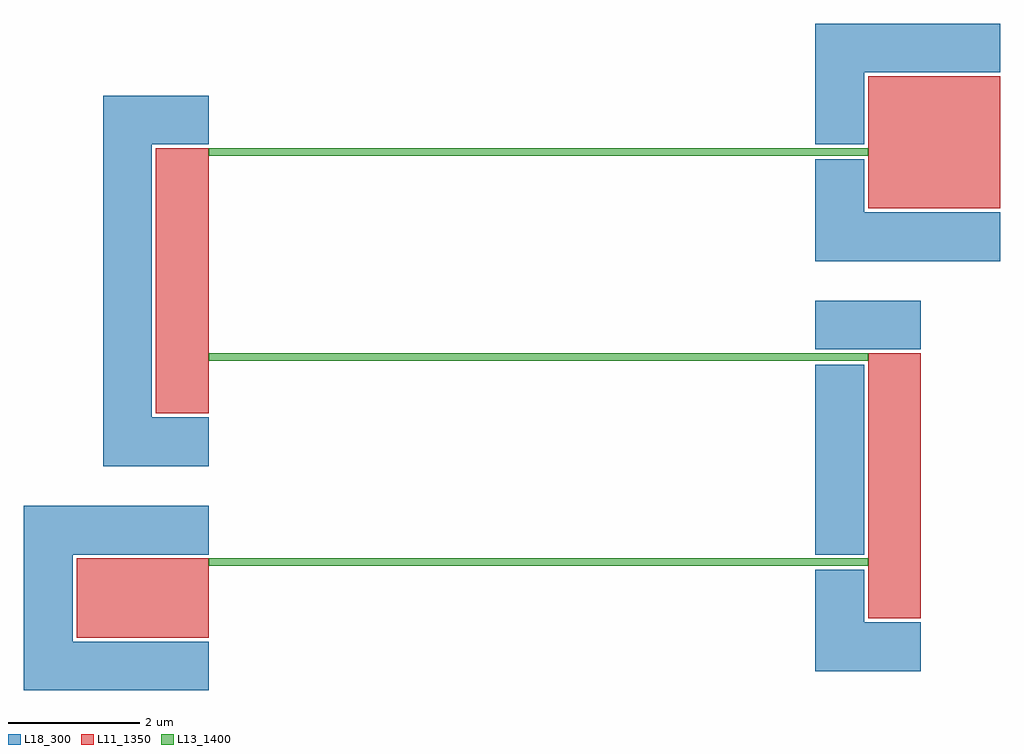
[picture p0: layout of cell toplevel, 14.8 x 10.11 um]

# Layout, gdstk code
from math import pi, radians
import gdstk
lib = gdstk.Library(unit=1e-6, precision=1e-09)
def R(c, l, rs):  # rectangles x0, y0, x1, y1
    for r in rs: c.add(gdstk.rectangle(r[:2], r[2:], *l))
def P(c, l, *ps):  # polygons
    for p in ps: c.add(gdstk.Polygon(p, *l))
L11_1350 = (11, 1350)
L13_1400 = (13, 1400)
L18_300 = (18, 300)

rectangle006 = lib.new_cell('rectangle006')
R(rectangle006, L11_1350, [(0,0,0.8,3.22)])

rectangle007 = lib.new_cell('rectangle007')
R(rectangle007, L11_1350, [(0,-0.8,0.8,0)])

arm_connector = lib.new_cell('Arm connector')
arm_connector.add(gdstk.Reference(rectangle006, (-0.8,-3.11)))
arm_connector.add(gdstk.Reference(rectangle007, (-0.8,-3.11)))

rectangle009 = lib.new_cell('rectangle009')
R(rectangle009, L11_1350, [(0,0,0.8,3.22)])

rectangle010 = lib.new_cell('rectangle010')
R(rectangle010, L11_1350, [(0,-0.8,0.8,0)])

arm_connector008 = lib.new_cell('Arm connector008')
arm_connector008.add(gdstk.Reference(rectangle009, (10,-6.22)))
arm_connector008.add(gdstk.Reference(rectangle010, (10,-6.22)))

arms = lib.new_cell('Arms')
arms.add(gdstk.Reference(arm_connector, (0,0)))
arms.add(gdstk.Reference(arm_connector008, (0,0)))

rectangle = lib.new_cell('rectangle')
R(rectangle, L13_1400, [(0,0,10,0.11)])

resistive_segment = lib.new_cell('Resistive segment')
resistive_segment.add(gdstk.Reference(rectangle, (0,0)))

rectangle003 = lib.new_cell('rectangle003')
R(rectangle003, L13_1400, [(0,0,10,0.11)])

resistive_segment002 = lib.new_cell('Resistive segment002')
resistive_segment002.add(gdstk.Reference(rectangle003, (0,-3.11)))

rectangle005 = lib.new_cell('rectangle005')
R(rectangle005, L13_1400, [(0,0,10,0.11)])

resistive_segment004 = lib.new_cell('Resistive segment004')
resistive_segment004.add(gdstk.Reference(rectangle005, (0,-6.22)))

resistive_segments = lib.new_cell('Resistive segments')
resistive_segments.add(gdstk.Reference(resistive_segment, (0,0)))
resistive_segments.add(gdstk.Reference(resistive_segment002, (0,0)))
resistive_segments.add(gdstk.Reference(resistive_segment004, (0,0)))

boolean = lib.new_cell('boolean')
P(boolean, L18_300, [(0,-3.97),(-0.86,-3.97),(-0.86,0.17),(0,0.17),(0,0.91),(-1.6,0.91),(-1.6,-4.71),(0,-4.71)])

boolean011 = lib.new_cell('boolean011')
R(boolean011, L18_300, [(9.2,-6.05,9.94,-3.17), (9.2,-2.94,10.8,-2.2)])
P(boolean011, L18_300, [(10.8,-7.08),(9.94,-7.08),(9.94,-6.28),(9.2,-6.28),(9.2,-7.82),(10.8,-7.82)])

boolean016 = lib.new_cell('boolean016')
P(boolean016, L18_300, [(9.94,1.26),(12,1.26),(12,2),(9.2,2),(9.2,0.17),(9.94,0.17)],
  [(12,-0.86),(9.94,-0.86),(9.94,-0.06),(9.2,-0.06),(9.2,-1.6),(12,-1.6)],
  [(0,-7.37),(-2.06,-7.37),(-2.06,-6.05),(0,-6.05),(0,-5.31),(-2.8,-5.31),(-2.8,-8.11),(0,-8.11)])

liftoff_undercut = lib.new_cell('Liftoff undercut')
liftoff_undercut.add(gdstk.Reference(boolean, (0,0)))
liftoff_undercut.add(gdstk.Reference(boolean011, (0,0)))
liftoff_undercut.add(gdstk.Reference(boolean016, (0,0)))

rectangle012 = lib.new_cell('rectangle012')
R(rectangle012, L11_1350, [(-2,0,0,1.2)])

connector = lib.new_cell('Connector')
connector.add(gdstk.Reference(rectangle012, (0,0)))

rectangle013 = lib.new_cell('rectangle013')
R(rectangle013, L11_1350, [(-2,-0.8,0,0)])

top_connector = lib.new_cell('Top connector')
top_connector.add(gdstk.Reference(connector, (10,0), rotation=pi, x_reflection=True))
top_connector.add(gdstk.Reference(rectangle013, (10,0), rotation=pi, x_reflection=True))

rectangle015 = lib.new_cell('rectangle015')
R(rectangle015, L11_1350, [(-2,0,0,1.2)])

connector014 = lib.new_cell('Connector014')
connector014.add(gdstk.Reference(rectangle015, (-2,-7.31), rotation=pi, x_reflection=True))

bot_connector = lib.new_cell('Bot connector')
bot_connector.add(gdstk.Reference(connector014, (0,0)))

toplevel = lib.new_cell('toplevel')
toplevel.add(gdstk.Reference(arms, (0,0)))
toplevel.add(gdstk.Reference(resistive_segments, (0,0)))
toplevel.add(gdstk.Reference(liftoff_undercut, (0,0)))
toplevel.add(gdstk.Reference(top_connector, (0,0)))
toplevel.add(gdstk.Reference(bot_connector, (0,0)))

lib.write_gds('toplevel.gds')
